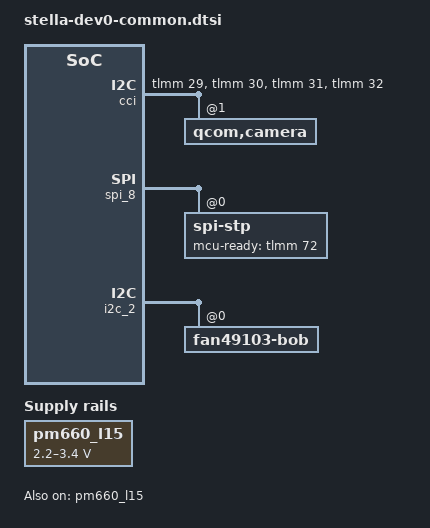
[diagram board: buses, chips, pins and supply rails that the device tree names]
/*
 * Copyright (c) 2019, The Linux Foundation. All rights reserved.
 *
 * This program is free software; you can redistribute it and/or modify
 * it under the terms of the GNU General Public License version 2 and
 * only version 2 as published by the Free Software Foundation.
 *
 * This program is distributed in the hope that it will be useful,
 * but WITHOUT ANY WARRANTY; without even the implied warranty of
 * MERCHANTABILITY or FITNESS FOR A PARTICULAR PURPOSE.  See the
 * GNU General Public License for more details.
 */
&soc {
	oculus,rt600_ctrl {
		pinctrl-names = "default", "flashing", "soc_active";
		pinctrl-0 = <&rt600_boot0_high
				&rt600_boot1_high
				&rt600_boot2_low>;
		pinctrl-1 = <&rt600_boot0_low
				&rt600_boot1_high
				&rt600_boot2_high>;
		pinctrl-2 = <&rt600_boot0_low
				&rt600_boot1_high
				&rt600_boot2_high>;

	};

	oculus,cam_fsync {
		status = "disabled";
	};

	oculus,hw-debug {
		status = "disabled";
	};
};

/* Use higher drive on Dev 0 to get around of pull up from FTDI mux */
&blsp2_uart1_active {
	mux {
		pins = "gpio16", "gpio17";
		function = "blsp_uart5";
	};

	config {
		pins = "gpio16", "gpio17";
		drive-strength = <16>;
		bias-disable;
	};
};

&blsp2_uart1_unused {
	config {
		/delete-property/ bias-pull-down;
		bias-disable;
	};
};

&eeprom_spyro0  {
	status = "disabled";
};

&eeprom_spyro1  {
	status = "disabled";
};

&cci {
	pinctrl-0 = <&cci0_active &cci1_active>;
	pinctrl-1 = <&cci0_suspend &cci1_suspend>;
	gpios = <&tlmm 29 0>,
	<&tlmm 30 0>,
	<&tlmm 31 0>,
	<&tlmm 32 0>;
	qcom,gpio-tbl-num = <0 1 2 3>;
	qcom,gpio-tbl-flags = <1 1 1 1>;
	qcom,gpio-tbl-label = "CCI_I2C_DATA0",
				"CCI_I2C_CLK0",
				"CCI_I2C_DATA1",
				"CCI_I2C_CLK1";

	qcom,camera@1 {
		qcom,cci-master = <1>;
	};
};

&spi_8 {
	spi-stp@0 {
		mcu-ready  = <&tlmm 72 0>;
	};
};

&spi8_default {
	config {
		drive-strength = <12>; /* 12 MA */
	};
};


&i2c_2 {
	fan49103-bob@0 {
		status = "ok";
	};

	tps63811-bob@75 {
		status = "disabled";
	};
};

&pm660_l15 {
  regulator-min-microvolt = <2200000>;
  regulator-max-microvolt = <3400000>;
  qcom,init-voltage = <2200000>;
  regulator-always-on;
  regulator-boot-on;
  status = "ok";
};


&sdc2_clk_on {
  config {
    drive-strength = <16>;
  };
};

&sdc2_cmd_on {
  config {
    drive-strength = <16>;
  };
};

&sdc2_data_on {
  config {
    drive-strength = <16>;
  };
};

&brcmf {
	nvram = "brcmfmac43012-sdio.txt";
};

&cam_sensor_mclk0_default {
	config {
		drive-strength = <2>;
	};
};

&cam_sensor_mclk0_sleep {
	config {
		drive-strength = <2>;
	};
};

&cam_sensor_mclk1_default {
	config {
		drive-strength = <2>;
	};
};

&cam_sensor_mclk1_sleep {
	config {
		drive-strength = <2>;
	};
};

&pm660_fg {
	qcom,fg-empty-voltage = <3400>;
};
